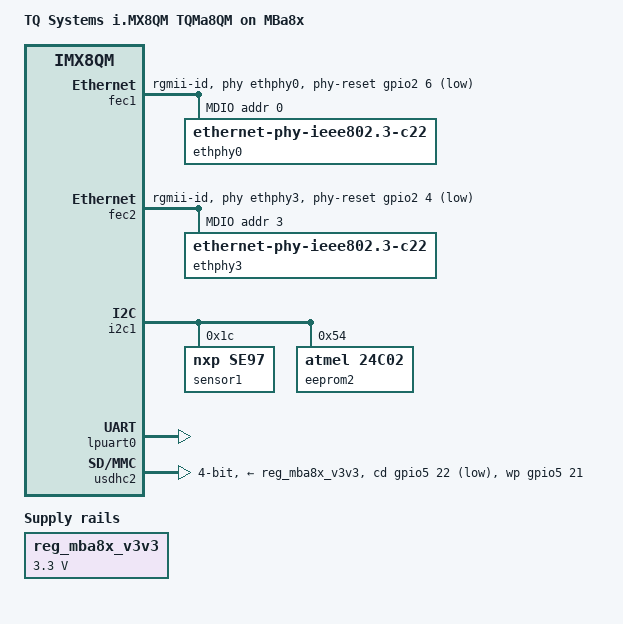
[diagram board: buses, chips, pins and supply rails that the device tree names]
// SPDX-License-Identifier: GPL-2.0+
/*
 * Copyright 2018 - 2020 TQ Systems GmbH
 */

/dts-v1/;

#include "fsl-imx8qm-tqma8qm.dtsi"
#include <dt-bindings/net/ti-dp83867.h>

/ {
	model = "TQ Systems i.MX8QM TQMa8QM on MBa8x";
	compatible = "tq,imx8qm-mba8x", "tq,imx8qm-tqma8qm", "fsl,imx8qm";

	chosen {
		bootargs = "console=ttyLP0,115200 earlycon";
		stdout-path = &lpuart0;
	};

	reg_mba8x_v3v3: mba8x_v3v3 {
		compatible = "regulator-fixed";
		regulator-name = "MBa8x-V3V3";
		regulator-min-microvolt = <3300000>;
		regulator-max-microvolt = <3300000>;
		regulator-always-on;
	};
};

&fec1 {
	pinctrl-names = "default";
	pinctrl-0 = <&pinctrl_fec1>;
	phy-mode = "rgmii-id";
	phy-handle = <&ethphy0>;
	phy-reset-gpios = <&gpio2 6 GPIO_ACTIVE_LOW>;
	phy-reset-duration = <500>;
	phy-reset-post-delay = <50>;
	fsl,magic-packet;
	/* NXP starterkits share the mdio bus, we not */
	fsl,mii-exclusive;
	status = "okay";

	mdio {
		#address-cells = <1>;
		#size-cells = <0>;

		ethphy0: ethernet-phy@0 {
			compatible = "ethernet-phy-ieee802.3-c22";
			reg = <0>;
			ti,rx-internal-delay = <DP83867_RGMIIDCTL_2_25_NS>;
			ti,tx-internal-delay = <DP83867_RGMIIDCTL_2_25_NS>;
			ti,fifo-depth = <DP83867_PHYCR_FIFO_DEPTH_4_B_NIB>;
			ti,dp83867-rxctrl-strap-quirk;
			ti,clk-output-sel = <DP83867_CLK_O_SEL_OFF>;
			enet-phy-lane-no-swap;
			/* LED0: Link, LED2: activity */
			ti,led-function = <0x0100>;
			/* LED0/2: active High, driven by phy function */
			ti,led-ctrl = <0x1414>;
		};
	};
};

&fec2 {
	pinctrl-names = "default";
	pinctrl-0 = <&pinctrl_fec2>;
	phy-mode = "rgmii-id";
	phy-handle = <&ethphy3>;
	phy-reset-gpios = <&gpio2 4 GPIO_ACTIVE_LOW>;
	phy-reset-duration = <500>;
	/* NXP starterkits share the mdio bus, we not */
	fsl,mii-exclusive;
	fsl,magic-packet;
	status = "okay";

	mdio {
		#address-cells = <1>;
		#size-cells = <0>;

		ethphy3: ethernet-phy@3 {
			compatible = "ethernet-phy-ieee802.3-c22";
			reg = <3>;
			ti,rx-internal-delay = <DP83867_RGMIIDCTL_2_25_NS>;
			ti,tx-internal-delay = <DP83867_RGMIIDCTL_2_25_NS>;
			ti,fifo-depth = <DP83867_PHYCR_FIFO_DEPTH_4_B_NIB>;
			ti,dp83867-rxctrl-strap-quirk;
			ti,clk-output-sel = <DP83867_CLK_O_SEL_OFF>;
			enet-phy-lane-no-swap;
			/* LED0: Link, LED2: activity */
			ti,led-function = <0x0100>;
			/* LED0/2: active High, driven by phy function */
			ti,led-ctrl = <0x1414>;
		};
	};
};

&iomuxc {
	pinctrl-names = "default";
	pinctrl-0 = <&pinctrl_hog &pinctrl_pin_gpio>;

	pinctrl_fec1: fec1grp {
		fsl,pins = <
			SC_P_COMP_CTL_GPIO_1V8_3V3_ENET_ENETB_PAD	0x000014a0

			SC_P_ENET0_MDC_CONN_ENET0_MDC			0x06000041
			SC_P_ENET0_MDIO_CONN_ENET0_MDIO			0x06000041
			SC_P_ENET0_RGMII_TX_CTL_CONN_ENET0_RGMII_TX_CTL	0x00000040
			SC_P_ENET0_RGMII_TXC_CONN_ENET0_RGMII_TXC	0x00000040
			SC_P_ENET0_RGMII_TXD0_CONN_ENET0_RGMII_TXD0	0x00000040
			SC_P_ENET0_RGMII_TXD1_CONN_ENET0_RGMII_TXD1	0x00000040
			SC_P_ENET0_RGMII_TXD2_CONN_ENET0_RGMII_TXD2	0x00000040
			SC_P_ENET0_RGMII_TXD3_CONN_ENET0_RGMII_TXD3	0x00000040
			SC_P_ENET0_RGMII_RXC_CONN_ENET0_RGMII_RXC	0x00000040
			SC_P_ENET0_RGMII_RX_CTL_CONN_ENET0_RGMII_RX_CTL	0x00000040
			SC_P_ENET0_RGMII_RXD0_CONN_ENET0_RGMII_RXD0	0x00000040
			SC_P_ENET0_RGMII_RXD1_CONN_ENET0_RGMII_RXD1	0x00000040
			SC_P_ENET0_RGMII_RXD2_CONN_ENET0_RGMII_RXD2	0x00000040
			SC_P_ENET0_RGMII_RXD3_CONN_ENET0_RGMII_RXD3	0x00000040
			/* PHY Reset */
			SC_P_ESAI1_SCKR_LSIO_GPIO2_IO06			0x00000040
		>;
	};

	pinctrl_fec2: fec2grp {
		fsl,pins = <
			SC_P_COMP_CTL_GPIO_1V8_3V3_ENET_ENETA_PAD	0x000014a0
			
			SC_P_ENET1_MDC_CONN_ENET1_MDC			0x06000041
			SC_P_ENET1_MDIO_CONN_ENET1_MDIO			0x06000041
			SC_P_ENET1_RGMII_TX_CTL_CONN_ENET1_RGMII_TX_CTL	0x00000040
			SC_P_ENET1_RGMII_TXC_CONN_ENET1_RGMII_TXC	0x00000040
			SC_P_ENET1_RGMII_TXD0_CONN_ENET1_RGMII_TXD0	0x00000040
			SC_P_ENET1_RGMII_TXD1_CONN_ENET1_RGMII_TXD1	0x00000040
			SC_P_ENET1_RGMII_TXD2_CONN_ENET1_RGMII_TXD2	0x00000040
			SC_P_ENET1_RGMII_TXD3_CONN_ENET1_RGMII_TXD3	0x00000040
			SC_P_ENET1_RGMII_RXC_CONN_ENET1_RGMII_RXC	0x00000040
			SC_P_ENET1_RGMII_RX_CTL_CONN_ENET1_RGMII_RX_CTL	0x00000040
			SC_P_ENET1_RGMII_RXD0_CONN_ENET1_RGMII_RXD0	0x00000040
			SC_P_ENET1_RGMII_RXD1_CONN_ENET1_RGMII_RXD1	0x00000040
			SC_P_ENET1_RGMII_RXD2_CONN_ENET1_RGMII_RXD2	0x00000040
			SC_P_ENET1_RGMII_RXD3_CONN_ENET1_RGMII_RXD3	0x00000040
/*			SC_P_ENET1_REFCLK_125M_25M			0x00000060 */
			/* PHY Reset */
			SC_P_ESAI1_FSR_LSIO_GPIO2_IO04			0x00000040
		>;
	};

	pinctrl_hog: hoggrp {
		fsl,pins = <
			/* USB HUB RST */
			SC_P_ESAI1_SCKT_LSIO_GPIO2_IO07			0x00000021
			/* USB OTG PWR */
			SC_P_USB_SS3_TC1_LSIO_GPIO4_IO04		0x00000021
			/* SWITCH_A# */
			SC_P_ESAI1_TX3_RX2_LSIO_GPIO2_IO11		0x00000021
			/* SWITCH_B# */
			SC_P_SCU_GPIO0_04_LSIO_GPIO1_IO00		0x00000021
			/* USER_LED1 */
			SC_P_USDHC1_DATA4_LSIO_GPIO5_IO19		0x00000021
			/* USER_LED0 */
			SC_P_USDHC1_DATA5_LSIO_GPIO5_IO20		0x00000021
			/* PCIE_CLK_PD# */
			SC_P_ESAI1_TX2_RX3_LSIO_GPIO2_IO10		0x00000021
			/* EN_3V3_MPCIE */
			SC_P_SCU_GPIO0_05_LSIO_GPIO1_IO01		0x00000021
			/* EN_1V5_MPCIE */
			SC_P_SCU_GPIO0_03_LSIO_GPIO0_IO31		0x00000021
			/* PCIE0_CLKREQ# */
			SC_P_PCIE_CTRL0_CLKREQ_B_LSIO_GPIO4_IO27	0x00000041
			/* PCIE0_PERST# */
			SC_P_PCIE_CTRL0_PERST_B_LSIO_GPIO4_IO29		0x00000041
			/* PCIE0_WAKE# */
			SC_P_PCIE_CTRL0_WAKE_B_LSIO_GPIO4_IO28		0x00000041
			/* PCIE_DISABLE# */
			SC_P_ESAI1_FST_LSIO_GPIO2_IO05			0x00000021
			/* PCIE1_CLKREQ# */
			SC_P_PCIE_CTRL1_CLKREQ_B_LSIO_GPIO4_IO30	0x00000041
			/* PCIE1_PERST# */
			SC_P_PCIE_CTRL1_PERST_B_LSIO_GPIO5_IO00		0x00000041
			/* PCIE1_WAKE# */
			SC_P_PCIE_CTRL1_WAKE_B_LSIO_GPIO4_IO31		0x00000041
		>;
	};

	pinctrl_pin_gpio: pingpiogrp {
		fsl,pins = <
			/* GPIO0_05 on X62:26 */
			SC_P_SIM0_GPIO0_00_LSIO_GPIO0_IO05	0x00000021
			/* GPIO1_14 on X64:21 */
			SC_P_LVDS1_I2C1_SCL_LSIO_GPIO1_IO14	0x00000021
			/* GPIO1_15 on X64:23 */
			SC_P_LVDS1_I2C1_SDA_LSIO_GPIO1_IO15	0x00000021
			/* GPIO2_17 on X63:37 */
			SC_P_SPI3_SCK_LSIO_GPIO2_IO17		0x00000021
			/* GPIO2_21 on X63:39 */
			SC_P_SPI3_CS1_LSIO_GPIO2_IO21		0x00000021
			/* GPIO4_12 on X61:24 */
			SC_P_USDHC2_CD_B_LSIO_GPIO4_IO12	0x00000021
			/* GPIO4_11 on X61:26 */
			SC_P_USDHC2_WP_LSIO_GPIO4_IO11		0x00000021
			/* GPIO4_10 on X61:28 */
			SC_P_USDHC2_VSELECT_LSIO_GPIO4_IO10	0x00000021
			/* GPIO4_09 on X61:30 */
			SC_P_USDHC2_RESET_B_LSIO_GPIO4_IO09	0x00000021
			/* GPIO4_07 on X62:22 */
			SC_P_USDHC1_RESET_B_LSIO_GPIO4_IO07	0x00000021
			/* GPIO5_23 on X62:24 */
			SC_P_USDHC1_STROBE_LSIO_GPIO5_IO23	0x00000021
			/* GPIO5_24 on X61:15 */
			SC_P_USDHC2_CLK_LSIO_GPIO5_IO24		0x00000021
			/* GPIO5_25 on X61:17 */
			SC_P_USDHC2_CMD_LSIO_GPIO5_IO25		0x00000021
			/* GPIO5_26 on X61:19 */
			SC_P_USDHC2_DATA0_LSIO_GPIO5_IO26	0x00000021
			/* GPIO5_27 on X61:21 */
			SC_P_USDHC2_DATA1_LSIO_GPIO5_IO27	0x00000021
			/* GPIO5_28 on X61:23 */
			SC_P_USDHC2_DATA2_LSIO_GPIO5_IO28	0x00000021
			/* GPIO5_29 on X61:25 */
			SC_P_USDHC2_DATA3_LSIO_GPIO5_IO29	0x00000021
		>;
	};

	pinctrl_lpuart0: lpuart0grp {
		fsl,pins = <
			SC_P_UART0_RX_DMA_UART0_RX		0x06000020
			SC_P_UART0_TX_DMA_UART0_TX		0x06000020
			SC_P_UART0_CTS_B_DMA_UART0_CTS_B	0x00000021
			SC_P_UART0_RTS_B_DMA_UART0_RTS_B	0x00000021
		>;
	};

	pinctrl_usdhc2_gpio: usdhc2grpgpio {
		fsl,pins = <
			SC_P_USDHC1_DATA6_LSIO_GPIO5_IO21	0x00000021
			SC_P_USDHC1_DATA7_LSIO_GPIO5_IO22	0x00000021
			SC_P_USDHC1_RESET_B_LSIO_GPIO4_IO07	0x00000021
		>;
	};

	pinctrl_usdhc2: usdhc2grp {
		fsl,pins = <
			SC_P_USDHC1_CLK_CONN_USDHC1_CLK		0x06000041
			SC_P_USDHC1_CMD_CONN_USDHC1_CMD		0x00000021
			SC_P_USDHC1_DATA0_CONN_USDHC1_DATA0	0x00000021
			SC_P_USDHC1_DATA1_CONN_USDHC1_DATA1	0x00000021
			SC_P_USDHC1_DATA2_CONN_USDHC1_DATA2	0x00000021
			SC_P_USDHC1_DATA3_CONN_USDHC1_DATA3	0x00000021
			SC_P_USDHC1_VSELECT_CONN_USDHC1_VSELECT	0x00000021
		>;
	};

	pinctrl_usdhc2_100mhz: usdhc2grp100mhz {
		fsl,pins = <
			SC_P_USDHC1_CLK_CONN_USDHC1_CLK		0x06000040
			SC_P_USDHC1_CMD_CONN_USDHC1_CMD		0x00000020
			SC_P_USDHC1_DATA0_CONN_USDHC1_DATA0	0x00000020
			SC_P_USDHC1_DATA1_CONN_USDHC1_DATA1	0x00000020
			SC_P_USDHC1_DATA2_CONN_USDHC1_DATA2	0x00000020
			SC_P_USDHC1_DATA3_CONN_USDHC1_DATA3	0x00000020
			SC_P_USDHC1_VSELECT_CONN_USDHC1_VSELECT	0x00000020
		>;
	};

	pinctrl_usdhc2_200mhz: usdhc2grp200mhz {
		fsl,pins = <
			SC_P_USDHC1_CLK_CONN_USDHC1_CLK		0x06000040
			SC_P_USDHC1_CMD_CONN_USDHC1_CMD		0x00000020
			SC_P_USDHC1_DATA0_CONN_USDHC1_DATA0	0x00000020
			SC_P_USDHC1_DATA1_CONN_USDHC1_DATA1	0x00000020
			SC_P_USDHC1_DATA2_CONN_USDHC1_DATA2	0x00000020
			SC_P_USDHC1_DATA3_CONN_USDHC1_DATA3	0x00000020
			SC_P_USDHC1_VSELECT_CONN_USDHC1_VSELECT	0x00000020
		>;
	};
};

&i2c1 {
	sensor1: jc42@1c {
		compatible = "nxp,se97", "jedec,jc-42.4-temp";
		reg = <0x1c>;
		status = "okay";
	};

	eeprom2: 24c02@54 {
		compatible = "atmel,24c02";
		reg = <0x54>;
		pagesize = <16>;
		status = "okay";
	};
};

&lpuart0 {
	pinctrl-names = "default";
	pinctrl-0 = <&pinctrl_lpuart0>;
	status = "okay";
};



&usdhc2 {
	pinctrl-names = "default", "state_100mhz", "state_200mhz";
	pinctrl-0 = <&pinctrl_usdhc2>, <&pinctrl_usdhc2_gpio>;
	pinctrl-1 = <&pinctrl_usdhc2_100mhz>, <&pinctrl_usdhc2_gpio>;
	pinctrl-2 = <&pinctrl_usdhc2_200mhz>, <&pinctrl_usdhc2_gpio>;
	bus-width = <4>;
	cd-gpios = <&gpio5 22 GPIO_ACTIVE_LOW>;
	wp-gpios = <&gpio5 21 GPIO_ACTIVE_HIGH>;
	vmmc-supply = <&reg_mba8x_v3v3>;
	no-1-8-v;
	status = "okay";
};
